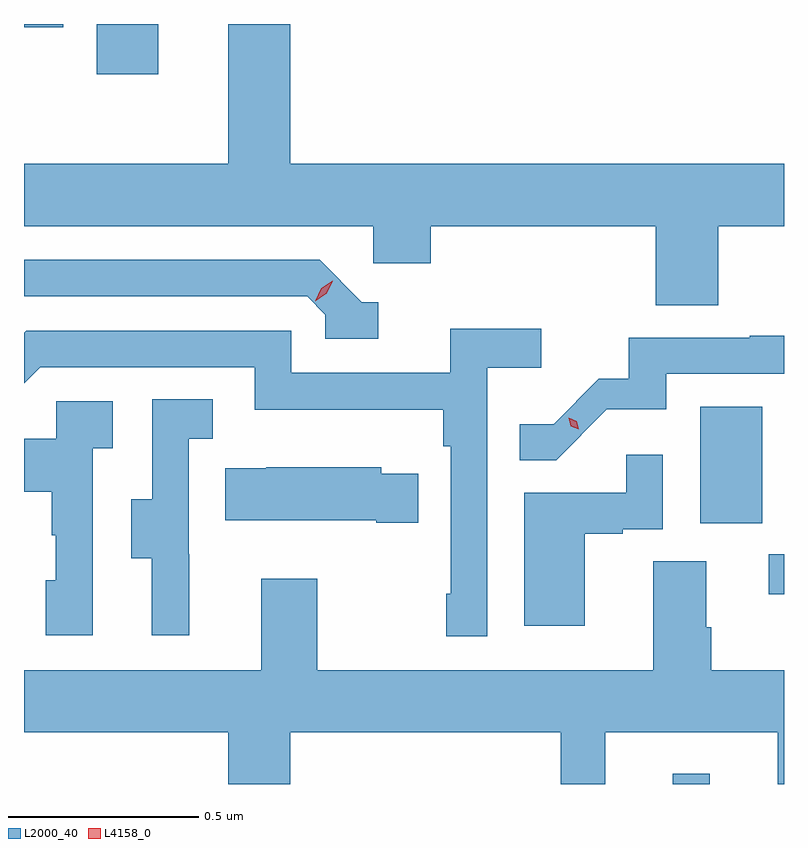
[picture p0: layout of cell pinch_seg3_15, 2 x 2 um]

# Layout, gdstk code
import gdstk
lib = gdstk.Library(unit=1e-6, precision=1e-09)
def R(c, l, rs):  # rectangles x0, y0, x1, y1
    for r in rs: c.add(gdstk.rectangle(r[:2], r[2:], *l))
def P(c, l, *ps):  # polygons
    for p in ps: c.add(gdstk.Polygon(p, *l))
L2000_40 = (2000, 40)
L4158_0 = (4158, 0)

pinch_seg3_15 = lib.new_cell('pinch_seg3_15')
R(pinch_seg3_15, L2000_40, [(1125.218,731.416,1125.315,731.443), (1125.471,731.916,1125.511,732.021), (1125.29,732.102,1125.454,732.409), (1123.703,733.284,1123.864,733.416), (1123.511,733.407,1123.614,733.416)])
P(pinch_seg3_15, L2000_40, [(1125.338,732.884),(1125.511,732.884),(1125.511,733.048),(1124.212,733.048),(1124.212,733.416),(1124.048,733.416),(1124.048,733.048),(1123.511,733.048),(1123.511,732.884),(1124.43,732.884),(1124.43,732.786),(1124.582,732.786),(1124.582,732.884),(1125.173,732.884),(1125.173,732.676),(1125.338,732.676)],
  [(1124.443,732.684),(1124.4,732.684),(1124.289,732.795),(1123.511,732.795),(1123.511,732.699),(1124.256,732.699),(1124.304,732.651),(1124.304,732.588),(1124.443,732.588)],
  [(1124.73,732.512),(1124.872,732.512),(1124.872,732.614),(1124.633,732.614),(1124.633,732.498),(1124.214,732.498),(1124.214,732.609),(1123.517,732.609),(1123.511,732.603),(1123.511,732.47),(1123.554,732.513),(1124.118,732.513),(1124.118,732.401),(1124.614,732.401),(1124.614,732.305),(1124.634,732.305),(1124.634,731.917),(1124.622,731.917),(1124.622,731.805),(1124.73,731.805)],
  [(1125.045,732.402),(1125.201,732.402),(1125.201,732.495),(1125.511,732.495),(1125.511,732.596),(1125.421,732.596),(1125.421,732.591),(1125.103,732.591),(1125.103,732.482),(1125.024,732.482),(1124.905,732.363),(1124.815,732.363),(1124.815,732.268),(1124.911,732.268)],
  [(1123.946,732.021),(1123.944,732.021),(1123.944,732.325),(1124.008,732.325),(1124.008,732.428),(1123.848,732.428),(1123.848,732.165),(1123.793,732.165),(1123.793,732.01),(1123.847,732.01),(1123.847,731.808),(1123.946,731.808)],
  [(1123.692,732.299),(1123.744,732.299),(1123.744,732.423),(1123.596,732.423),(1123.596,732.325),(1123.511,732.325),(1123.511,732.185),(1123.584,732.185),(1123.584,732.071),(1123.594,732.071),(1123.594,731.952),(1123.568,731.952),(1123.568,731.808),(1123.692,731.808)],
  [(1124.986,732.075),(1125.086,732.075),(1125.086,732.087),(1125.192,732.087),(1125.192,732.283),(1125.096,732.283),(1125.096,732.183),(1124.828,732.183),(1124.828,731.832),(1124.986,731.832)],
  [(1124.549,732.232),(1124.451,732.232),(1124.451,732.25),(1124.149,732.25),(1124.149,732.247),(1124.041,732.247),(1124.041,732.11),(1124.438,732.11),(1124.438,732.103),(1124.549,732.103)],
  [(1124.212,731.552),(1124.923,731.552),(1124.923,731.416),(1125.041,731.416),(1125.041,731.552),(1125.494,731.552),(1125.494,731.416),(1125.511,731.416),(1125.511,731.716),(1125.32,731.716),(1125.32,731.828),(1125.307,731.828),(1125.307,732.002),(1125.167,732.002),(1125.167,731.716),(1124.283,731.716),(1124.283,731.956),(1124.135,731.956),(1124.135,731.716),(1123.511,731.716),(1123.511,731.552),(1124.048,731.552),(1124.048,731.416),(1124.212,731.416)])
P(pinch_seg3_15, L4158_0, [(1124.971,732.349),(1124.95,732.358),(1124.944,732.38),(1124.944,732.38),(1124.944,732.38),(1124.965,732.371),(1124.971,732.35),(1124.971,732.349)],
  [(1124.278,732.687),(1124.278,732.687),(1124.293,732.72),(1124.323,732.74),(1124.324,732.74),(1124.324,732.74),(1124.308,732.707),(1124.278,732.687)])

lib.write_gds('pinch_seg3_15.gds')
